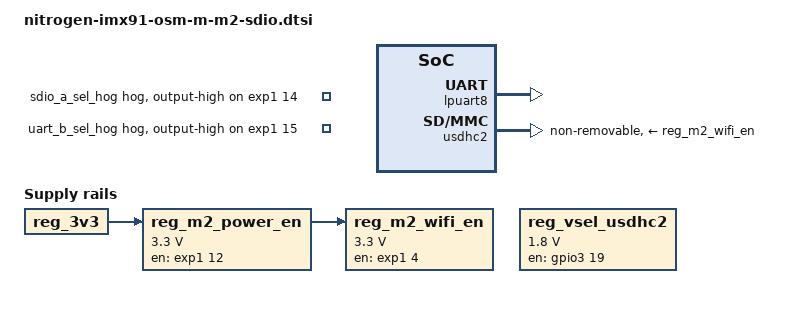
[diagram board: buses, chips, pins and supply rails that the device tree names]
// SPDX-License-Identifier: GPL-2.0
/*
 * M.2 SDIO Wi-Fi common functions (carrier-side)
 *
 * Copyright 2026 Ezurio LLC
 *
 * Carrier .dts must provide: &exp1, &exp2, &reg_3v3, &reg_1v8
 */

#include <dt-bindings/interrupt-controller/irq.h>
#include <dt-bindings/gpio/gpio.h>
#include <dt-bindings/input/input.h>
#include <dt-bindings/input/gpio-keys.h>

#include "imx91-pinfunc.h"

&{/} {
	reg_m2_power_en: regulator-m2-power-en {
		compatible = "regulator-fixed";
		regulator-name = "reg_m2_power_en";
		regulator-min-microvolt = <3300000>;
		regulator-max-microvolt = <3300000>;

		vin-supply = <&reg_3v3>;

		gpio = <&exp1 12 GPIO_ACTIVE_HIGH>; /* M2_POWER_EN */
		enable-active-high;

		regulator-always-on;
	};

	reg_m2_wifi_en: regulator-m2-wifi-en {
		compatible = "regulator-fixed";

		regulator-name = "reg_m2_wifi_en";
		regulator-min-microvolt = <3300000>;
		regulator-max-microvolt = <3300000>;

		vin-supply = <&reg_m2_power_en>;

		gpio = <&exp1 4 GPIO_ACTIVE_HIGH>; /* M2_WDISABLE1# */
		enable-active-high;

		startup-delay-us = <250000>;
		off-on-delay-us = <100>;
	};

	reg_vsel_usdhc2: regulator-vsel-usdhc2 {
		compatible = "regulator-fixed";

		regulator-name = "reg_vsel_usdhc2";
		regulator-min-microvolt = <1800000>;
		regulator-max-microvolt = <1800000>;

		pinctrl-names = "default";
		pinctrl-0 = <&pinctrl_usdhc2_vsel>;
		gpio = <&gpio3 19 GPIO_ACTIVE_HIGH>; /* SD2_VSELECT */
		enable-active-high;
		regulator-always-on;
	};

	wifi_wakeup_m2: wifi_wakeup_m2 {
		compatible = "gpio-keys";

		status = "disabled";

		wifi-wake-up-m2 {
			label = "Wi-Fi Wake Up M2";
			gpios = <&exp2 10 (GPIO_ACTIVE_LOW | GPIO_PULL_UP)>;
			linux,code = <KEY_WAKEUP>;
			wakeup-event-action = <EV_ACT_ASSERTED>;
			wakeup-source;
		};

		bt-wake-up-m2 {
			label = "BT Wake Up M2";
			gpios = <&exp2 9 (GPIO_ACTIVE_LOW | GPIO_PULL_UP)>;
			linux,code = <KEY_WAKEUP>;
			wakeup-event-action = <EV_ACT_ASSERTED>;
			wakeup-source;
		};
	};
};

&lpuart8 { /* M.2 BT_UART via OSM UART_B */
	status = "okay";

	uart-has-rtscts;
};

&exp1 {
	sdio_a_sel_hog {
		gpio-hog;
		output-high;
		gpios = <14 GPIO_ACTIVE_HIGH>;
	};

	uart_b_sel_hog {
		gpio-hog;
		output-high;
		gpios = <15 GPIO_ACTIVE_HIGH>;
	};
};

&usdhc2 { /* SDIO_A: M.2 SDIO socket */
	pinctrl-0 = <&pinctrl_usdhc2>;
	pinctrl-1 = <&pinctrl_usdhc2_100mhz>;
	pinctrl-2 = <&pinctrl_usdhc2_200mhz>;
	pinctrl-3 = <&pinctrl_usdhc2_sleep>;

	status = "okay";

	vmmc-supply = <&reg_m2_wifi_en>;
	vqmmc-supply = <&reg_vsel_usdhc2>;

	non-removable;
	keep-power-in-suspend;

	#address-cells = <1>;
	#size-cells = <0>;
};

&iomuxc {
	pinctrl_usdhc2_vsel: usdhc2vselgrp {
		fsl,pins = <
			MX91_PAD_SD2_VSELECT__GPIO3_IO19	0x51e
		>;
	};
};
